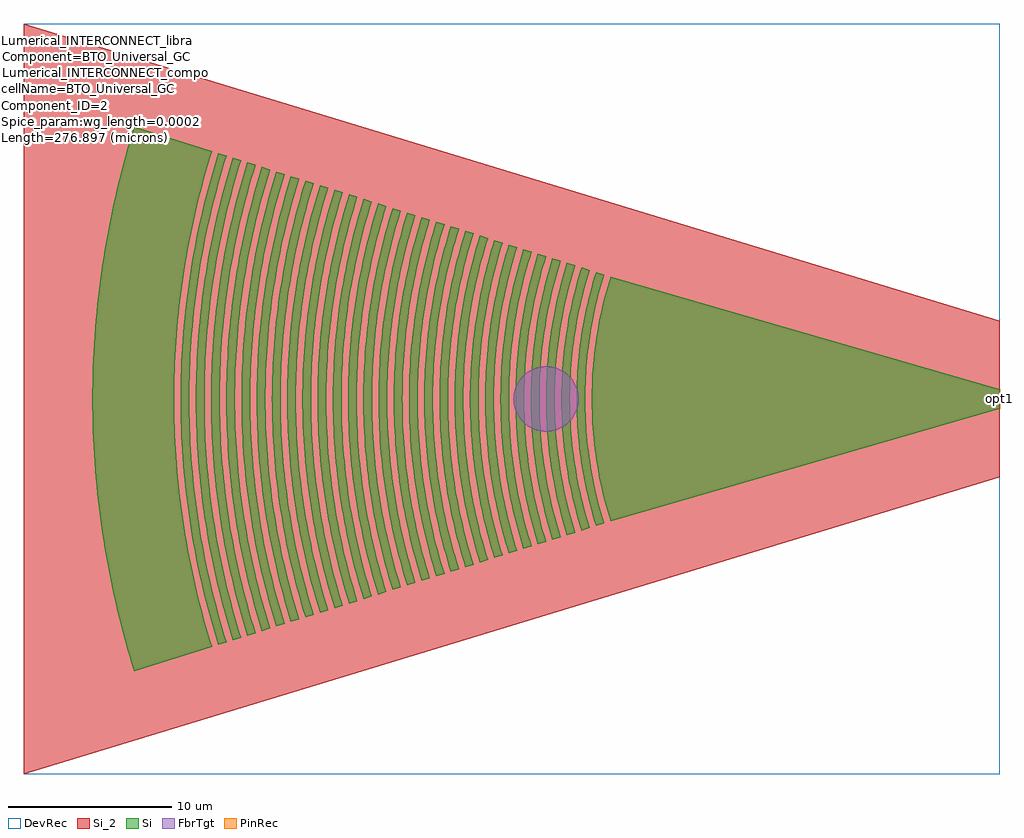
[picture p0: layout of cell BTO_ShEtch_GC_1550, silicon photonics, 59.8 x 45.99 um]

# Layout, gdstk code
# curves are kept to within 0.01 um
import gdstk
lib = gdstk.Library(unit=1e-6, precision=1e-09)
def R(c, l, rs):  # rectangles x0, y0, x1, y1
    for r in rs: c.add(gdstk.rectangle(r[:2], r[2:], *l))
def P(c, l, *ps):  # polygons
    for p in ps: c.add(gdstk.Polygon(p, *l))
Si = (1, 0)
Si_2 = (1, 2)
PinRec = (1, 10)
DevRec = (68, 0)
FbrTgt = (81, 0)

bto_shetch_gc_1550 = lib.new_cell('BTO_ShEtch_GC_1550')
P(bto_shetch_gc_1550, Si, [(-23.848,15.495),(-24.122,16.428),(-24.359,17.371),(-24.559,18.323),(-24.723,19.281),(-24.811,19.923),(-24.911,20.891),(-24.974,21.861),(-24.999,22.833),(-24.987,23.805),(-24.936,24.776),(-24.848,25.745),(-24.723,26.709),(-24.559,27.667),(-24.359,28.619),(-24.122,29.562),(-23.848,30.495),(0,23.595),(0,22.395)],
  [(-24.739,15.215),(-25.017,16.163),(-25.259,17.12),(-25.464,18.086),(-25.633,19.059),(-25.764,20.038),(-25.858,21.022),(-25.914,22.008),(-25.933,22.995),(-25.914,23.982),(-25.858,24.968),(-25.764,25.952),(-25.633,26.931),(-25.464,27.904),(-25.259,28.87),(-25.017,29.827),(-24.739,30.775),(-24.233,30.616),(-24.506,29.688),(-24.743,28.75),(-24.944,27.803),(-25.109,26.85),(-25.237,25.891),(-25.329,24.928),(-25.385,23.962),(-25.403,22.995),(-25.385,22.028),(-25.329,21.062),(-25.237,20.099),(-25.109,19.14),(-24.944,18.187),(-24.743,17.24),(-24.506,16.302),(-24.233,15.374)],
  [(-25.629,14.935),(-25.911,15.897),(-26.158,16.868),(-26.368,17.848),(-26.542,18.835),(-26.679,19.828),(-26.778,20.826),(-26.841,21.826),(-26.865,22.828),(-26.853,23.83),(-26.803,24.831),(-26.716,25.83),(-26.592,26.824),(-26.368,28.142),(-26.158,29.122),(-25.911,30.093),(-25.629,31.055),(-25.123,30.896),(-25.4,29.953),(-25.642,29.001),(-25.848,28.04),(-26.018,27.073),(-26.152,26.099),(-26.25,25.122),(-26.311,24.141),(-26.336,23.159),(-26.323,22.176),(-26.274,21.195),(-26.189,20.216),(-26.067,19.241),(-25.909,18.272),(-25.715,17.308),(-25.485,16.353),(-25.123,15.094)],
  [(-26.519,14.655),(-26.806,15.63),(-27.057,16.615),(-27.272,17.608),(-27.451,18.609),(-27.593,19.615),(-27.725,20.964),(-27.78,21.979),(-27.799,22.995),(-27.78,24.011),(-27.725,25.026),(-27.593,26.375),(-27.451,27.381),(-27.272,28.382),(-27.057,29.375),(-26.806,30.36),(-26.519,31.335),(-26.013,31.176),(-26.295,30.219),(-26.541,29.253),(-26.815,27.952),(-26.978,26.969),(-27.105,25.98),(-27.196,24.987),(-27.251,23.992),(-27.269,22.995),(-27.251,21.998),(-27.196,21.003),(-27.105,20.01),(-26.978,19.021),(-26.815,18.038),(-26.541,16.737),(-26.295,15.771),(-26.013,14.814)],
  [(-27.409,14.375),(-27.7,15.363),(-27.956,16.361),(-28.175,17.367),(-28.359,18.38),(-28.506,19.4),(-28.617,20.424),(-28.707,21.794),(-28.731,22.823),(-28.719,23.853),(-28.67,24.882),(-28.584,25.908),(-28.412,27.27),(-28.241,28.286),(-27.956,29.629),(-27.7,30.627),(-27.409,31.615),(-26.903,31.456),(-27.189,30.486),(-27.44,29.507),(-27.656,28.519),(-27.836,27.525),(-27.98,26.524),(-28.089,25.519),(-28.161,24.511),(-28.202,23.163),(-28.177,21.816),(-28.117,20.807),(-28.021,19.801),(-27.888,18.798),(-27.656,17.471),(-27.44,16.483),(-27.189,15.504),(-26.903,14.534)],
  [(-28.299,14.096),(-28.685,15.431),(-28.933,16.444),(-29.145,17.465),(-29.321,18.493),(-29.462,19.527),(-29.592,20.911),(-29.647,21.952),(-29.665,22.995),(-29.647,24.038),(-29.592,25.079),(-29.462,26.463),(-29.321,27.497),(-29.145,28.525),(-28.933,29.546),(-28.685,30.559),(-28.299,31.895),(-27.793,31.736),(-28.172,30.424),(-28.416,29.429),(-28.624,28.426),(-28.798,27.416),(-28.973,26.062),(-29.063,25.042),(-29.117,24.019),(-29.135,22.995),(-29.117,21.971),(-29.063,20.948),(-28.973,19.928),(-28.798,18.574),(-28.624,17.564),(-28.416,16.561),(-28.172,15.566),(-27.793,14.254)],
  [(-29.189,13.816),(-29.488,14.828),(-29.752,15.849),(-29.981,16.88),(-30.23,18.265),(-30.416,19.659),(-30.513,20.71),(-30.573,21.764),(-30.597,22.819),(-30.573,24.226),(-30.513,25.28),(-30.416,26.331),(-30.283,27.378),(-30.049,28.765),(-29.832,29.798),(-29.58,30.823),(-29.189,32.174),(-28.683,32.015),(-28.977,31.021),(-29.237,30.017),(-29.529,28.665),(-29.707,27.643),(-29.889,26.273),(-29.984,25.24),(-30.044,24.205),(-30.068,23.168),(-30.044,21.785),(-29.984,20.75),(-29.889,19.717),(-29.707,18.347),(-29.529,17.325),(-29.237,15.973),(-28.977,14.969),(-28.683,13.975)],
  [(-30.079,13.536),(-30.482,14.929),(-30.742,15.985),(-30.965,17.049),(-31.152,18.12),(-31.301,19.198),(-31.414,20.279),(-31.489,21.364),(-31.53,22.814),(-31.518,23.901),(-31.443,25.349),(-31.343,26.432),(-31.152,27.87),(-30.965,28.941),(-30.742,30.005),(-30.482,31.061),(-30.079,32.454),(-29.573,32.295),(-29.876,31.27),(-30.144,30.235),(-30.376,29.191),(-30.628,27.788),(-30.775,26.729),(-30.915,25.31),(-30.976,24.242),(-31.001,23.173),(-30.976,21.748),(-30.915,20.68),(-30.775,19.261),(-30.628,18.202),(-30.376,16.799),(-30.144,15.755),(-29.876,14.72),(-29.573,13.695)],
  [(-30.969,13.256),(-31.281,14.31),(-31.557,15.373),(-31.797,16.446),(-32.06,17.887),(-32.258,19.339),(-32.363,20.433),(-32.431,21.53),(-32.464,22.995),(-32.431,24.46),(-32.363,25.557),(-32.258,26.651),(-32.06,28.103),(-31.797,29.544),(-31.557,30.617),(-31.281,31.68),(-30.969,32.734),(-30.463,32.575),(-30.77,31.539),(-31.124,30.141),(-31.415,28.73),(-31.591,27.663),(-31.731,26.591),(-31.861,25.156),(-31.916,24.076),(-31.934,22.995),(-31.916,21.914),(-31.861,20.834),(-31.731,19.399),(-31.591,18.327),(-31.415,17.26),(-31.124,15.849),(-30.77,14.451),(-30.463,13.415)],
  [(-31.859,12.976),(-32.174,14.04),(-32.454,15.114),(-32.698,16.197),(-32.967,17.653),(-33.171,19.118),(-33.282,20.223),(-33.372,21.7),(-33.396,22.81),(-33.372,24.29),(-33.31,25.398),(-33.212,26.504),(-33.024,27.972),(-32.771,29.43),(-32.539,30.516),(-32.174,31.95),(-31.859,33.014),(-31.353,32.855),(-31.664,31.808),(-31.939,30.751),(-32.179,29.685),(-32.444,28.253),(-32.601,27.171),(-32.754,25.723),(-32.826,24.633),(-32.867,23.177),(-32.842,21.721),(-32.782,20.63),(-32.645,19.18),(-32.5,18.097),(-32.251,16.662),(-32.023,15.594),(-31.664,14.182),(-31.353,13.135)],
  [(-32.749,12.696),(-33.166,14.131),(-33.438,15.218),(-33.674,16.314),(-33.932,17.785),(-34.127,19.267),(-34.23,20.383),(-34.312,21.874),(-34.33,22.995),(-34.312,24.116),(-34.23,25.607),(-34.127,26.723),(-33.932,28.205),(-33.674,29.676),(-33.438,30.772),(-33.166,31.859),(-32.749,33.294),(-32.243,33.135),(-32.654,31.722),(-32.921,30.652),(-33.154,29.573),(-33.409,28.124),(-33.6,26.666),(-33.702,25.567),(-33.768,24.466),(-33.8,22.995),(-33.768,21.524),(-33.702,20.423),(-33.6,19.324),(-33.409,17.866),(-33.154,16.417),(-32.921,15.338),(-32.654,14.268),(-32.243,12.855)],
  [(-33.639,12.416),(-33.961,13.5),(-34.336,14.961),(-34.576,16.066),(-34.84,17.55),(-34.997,18.67),(-35.15,20.171),(-35.222,21.299),(-35.262,22.807),(-35.238,24.314),(-35.15,25.819),(-34.997,27.32),(-34.84,28.44),(-34.576,29.924),(-34.336,31.029),(-33.961,32.49),(-33.639,33.574),(-33.133,33.415),(-33.45,32.347),(-33.82,30.908),(-34.056,29.82),(-34.317,28.358),(-34.471,27.255),(-34.621,25.777),(-34.693,24.665),(-34.733,23.181),(-34.721,22.067),(-34.649,20.583),(-34.514,19.104),(-34.317,17.632),(-34.056,16.17),(-33.82,15.082),(-33.45,13.643),(-33.133,12.575)],
  [(-34.529,12.136),(-34.859,13.249),(-35.244,14.748),(-35.564,16.262),(-35.762,17.406),(-35.923,18.556),(-36.08,20.096),(-36.171,21.641),(-36.195,22.802),(-36.171,24.349),(-36.109,25.508),(-35.968,27.05),(-35.82,28.201),(-35.564,29.728),(-35.244,31.242),(-34.859,32.741),(-34.529,33.854),(-34.023,33.695),(-34.45,32.231),(-34.728,31.121),(-35.044,29.629),(-35.238,28.502),(-35.442,26.99),(-35.551,25.852),(-35.625,24.71),(-35.666,23.186),(-35.641,21.661),(-35.58,20.519),(-35.442,19),(-35.295,17.865),(-35.113,16.736),(-34.813,15.241),(-34.45,13.759),(-34.023,12.295)],
  [(-35.419,11.856),(-35.856,13.354),(-36.142,14.489),(-36.392,15.632),(-36.669,17.168),(-36.881,18.713),(-37.029,20.267),(-37.111,21.825),(-37.129,22.995),(-37.111,24.165),(-37.029,25.723),(-36.881,27.277),(-36.669,28.822),(-36.392,30.358),(-36.142,31.501),(-35.856,32.636),(-35.419,34.134),(-34.913,33.975),(-35.344,32.498),(-35.626,31.38),(-35.946,29.875),(-36.204,28.359),(-36.355,27.215),(-36.5,25.684),(-36.567,24.533),(-36.599,22.995),(-36.567,21.457),(-36.5,20.306),(-36.355,18.775),(-36.204,17.631),(-35.946,16.115),(-35.626,14.61),(-35.344,13.492),(-34.913,12.015)],
  [(-36.309,11.576),(-36.645,12.707),(-37.039,14.229),(-37.369,15.766),(-37.636,17.316),(-37.794,18.485),(-37.948,20.05),(-38.021,21.227),(-38.061,22.798),(-38.037,24.371),(-37.948,25.94),(-37.794,27.505),(-37.636,28.674),(-37.369,30.224),(-37.039,31.761),(-36.645,33.283),(-36.309,34.414),(-35.803,34.255),(-36.238,32.766),(-36.523,31.639),(-36.849,30.123),(-37.112,28.595),(-37.268,27.443),(-37.42,25.899),(-37.492,24.739),(-37.532,23.189),(-37.52,22.026),(-37.448,20.477),(-37.312,18.933),(-37.112,17.395),(-36.849,15.867),(-36.523,14.351),(-36.238,13.224),(-35.803,11.735)],
  [(-37.199,11.297),(-37.643,12.817),(-38.026,14.354),(-38.345,15.906),(-38.543,17.077),(-38.706,18.254),(-38.866,19.83),(-38.963,21.411),(-38.995,22.995),(-38.963,24.579),(-38.866,26.16),(-38.706,27.736),(-38.543,28.913),(-38.345,30.084),(-38.026,31.636),(-37.643,33.173),(-37.199,34.694),(-36.693,34.535),(-37.132,33.035),(-37.509,31.518),(-37.751,30.372),(-38.02,28.832),(-38.225,27.283),(-38.368,25.727),(-38.447,24.167),(-38.465,22.995),(-38.447,21.823),(-38.368,20.263),(-38.225,18.707),(-38.02,17.158),(-37.751,15.618),(-37.509,14.472),(-37.132,12.955),(-36.693,11.455)],
  [(-38.089,11.017),(-38.544,12.573),(-38.844,13.753),(-39.187,15.338),(-39.466,16.936),(-39.679,18.543),(-39.827,20.159),(-39.895,21.373),(-39.928,22.995),(-39.895,24.617),(-39.827,25.831),(-39.679,27.447),(-39.466,29.054),(-39.187,30.652),(-38.844,32.237),(-38.544,33.417),(-38.089,34.973),(-37.583,34.814),(-38.032,33.278),(-38.419,31.725),(-38.742,30.158),(-38.942,28.974),(-39.152,27.387),(-39.299,25.794),(-39.366,24.595),(-39.398,22.995),(-39.366,21.395),(-39.299,20.196),(-39.152,18.603),(-38.942,17.016),(-38.742,15.832),(-38.419,14.265),(-38.032,12.712),(-37.583,11.176)],
  [(-38.979,10.737),(-39.438,12.304),(-39.74,13.49),(-40.088,15.085),(-40.372,16.693),(-40.592,18.311),(-40.714,19.529),(-40.82,21.159),(-40.86,22.791),(-40.836,24.423),(-40.775,25.646),(-40.636,27.273),(-40.433,28.893),(-40.165,30.504),(-39.833,32.102),(-39.438,33.686),(-38.979,35.253),(-38.473,35.094),(-38.926,33.548),(-39.317,31.984),(-39.568,30.802),(-39.849,29.215),(-40.017,28.018),(-40.186,26.416),(-40.29,24.807),(-40.331,23.196),(-40.306,21.585),(-40.218,19.976),(-40.065,18.372),(-39.849,16.775),(-39.568,15.188),(-39.317,14.006),(-38.926,12.442),(-38.473,10.896)],
  [(-39.869,10.457),(-40.331,12.034),(-40.731,13.627),(-41.067,15.235),(-41.341,16.856),(-41.504,18.077),(-41.665,19.712),(-41.762,21.352),(-41.794,22.995),(-41.762,24.638),(-41.665,26.278),(-41.504,27.913),(-41.341,29.134),(-41.067,30.755),(-40.731,32.363),(-40.331,33.956),(-39.869,35.533),(-39.363,35.374),(-39.82,33.817),(-40.214,32.244),(-40.547,30.656),(-40.755,29.458),(-40.977,27.851),(-41.137,26.236),(-41.232,24.617),(-41.264,22.995),(-41.232,21.373),(-41.137,19.754),(-40.977,18.139),(-40.755,16.532),(-40.547,15.334),(-40.214,13.746),(-39.82,12.173),(-39.363,10.616)],
  [(-40.759,10.177),(-41.119,11.384),(-41.544,13.009),(-41.904,14.65),(-42.2,16.303),(-42.43,17.967),(-42.595,19.639),(-42.694,21.316),(-42.727,22.995),(-42.694,24.674),(-42.595,26.351),(-42.43,28.023),(-42.2,29.687),(-41.904,31.34),(-41.544,32.981),(-41.119,34.606),(-40.759,35.813),(-40.253,35.654),(-40.72,34.062),(-41.123,32.453),(-41.463,30.829),(-41.739,29.194),(-41.951,27.548),(-42.067,26.31),(-42.164,24.654),(-42.197,22.995),(-42.164,21.336),(-42.067,19.68),(-41.951,18.442),(-41.739,16.796),(-41.463,15.161),(-41.123,13.537),(-40.72,11.928),(-40.253,10.336)],
  [(-41.649,9.897),(-42.011,11.111),(-42.44,12.745),(-42.804,14.394),(-43.105,16.056),(-43.341,17.729),(-43.513,19.409),(-43.619,21.095),(-43.659,22.784),(-43.635,24.473),(-43.545,26.16),(-43.39,27.842),(-43.17,29.516),(-42.886,31.181),(-42.537,32.834),(-42.124,34.472),(-41.649,36.093),(-41.143,35.934),(-41.502,34.735),(-41.925,33.121),(-42.285,31.491),(-42.582,29.849),(-42.815,28.197),(-42.984,26.537),(-43.089,24.872),(-43.13,23.204),(-43.105,21.535),(-43.017,19.869),(-42.863,18.207),(-42.646,16.553),(-42.365,14.908),(-42.021,13.275),(-41.613,11.657),(-41.143,10.056)],
  [(-42.539,9.617),(-43.018,11.247),(-43.434,12.893),(-43.787,14.554),(-44.077,16.228),(-44.302,17.911),(-44.464,19.601),(-44.561,21.297),(-44.593,22.995),(-44.561,24.693),(-44.464,26.389),(-44.302,28.079),(-44.077,29.762),(-43.787,31.436),(-43.434,33.097),(-43.018,34.743),(-42.539,36.373),(-42.033,36.214),(-42.506,34.604),(-42.918,32.977),(-43.267,31.335),(-43.553,29.682),(-43.776,28.019),(-43.935,26.348),(-44.031,24.673),(-44.063,22.995),(-44.031,21.317),(-43.935,19.642),(-43.776,17.971),(-43.553,16.308),(-43.267,14.655),(-42.918,13.013),(-42.506,11.386),(-42.033,9.776)],
  [(-43.429,9.337),(-43.918,11.001),(-44.342,12.682),(-44.703,14.378),(-44.999,16.086),(-45.229,17.805),(-45.394,19.53),(-45.493,21.261),(-45.526,22.995),(-45.493,24.729),(-45.394,26.46),(-45.229,28.185),(-44.999,29.904),(-44.703,31.612),(-44.342,33.308),(-43.918,34.989),(-43.429,36.653),(-42.924,36.494),(-43.406,34.85),(-43.826,33.188),(-44.183,31.512),(-44.475,29.823),(-44.703,28.125),(-44.866,26.419),(-44.963,24.708),(-44.996,22.995),(-44.963,21.282),(-44.866,19.571),(-44.703,17.865),(-44.475,16.167),(-44.183,14.478),(-43.826,12.802),(-43.406,11.14),(-42.924,9.496)],
  [(-44.319,9.057),(-44.81,10.729),(-45.239,12.417),(-45.604,14.121),(-45.904,15.837),(-46.14,17.563),(-46.312,19.297),(-46.418,21.036),(-46.458,22.777),(-46.446,24.084),(-46.418,24.954),(-46.312,26.693),(-46.14,28.427),(-45.904,30.153),(-45.604,31.869),(-45.239,33.573),(-44.81,35.261),(-44.319,36.933),(-43.814,36.774),(-44.299,35.121),(-44.723,33.452),(-45.083,31.768),(-45.381,30.071),(-45.614,28.365),(-45.783,26.651),(-45.888,24.932),(-45.929,23.21),(-45.904,21.488),(-45.816,19.768),(-45.707,18.481),(-45.614,17.625),(-45.381,15.919),(-45.083,14.222),(-44.723,12.538),(-44.299,10.869),(-43.814,9.216)],
  [(-45.209,8.777),(-45.703,10.456),(-46.135,12.152),(-46.504,13.863),(-46.665,14.724),(-46.876,16.019),(-47.101,17.755),(-47.263,19.498),(-47.36,21.245),(-47.392,22.995),(-47.36,24.745),(-47.263,26.492),(-47.101,28.235),(-46.876,29.971),(-46.665,31.266),(-46.504,32.127),(-46.135,33.838),(-45.703,35.534),(-45.209,37.213),(-44.704,37.054),(-44.956,36.226),(-45.305,34.976),(-45.716,33.295),(-46.065,31.6),(-46.352,29.893),(-46.575,28.177),(-46.734,26.453),(-46.83,24.725),(-46.862,22.995),(-46.83,21.265),(-46.734,19.537),(-46.575,17.813),(-46.352,16.097),(-46.065,14.39),(-45.716,12.695),(-45.305,11.014),(-44.956,9.764),(-44.704,8.936)],
  [(-46.099,8.498),(-46.603,10.21),(-47.043,11.939),(-47.331,13.246),(-47.503,14.122),(-47.799,15.882),(-48.029,17.652),(-48.193,19.429),(-48.292,21.211),(-48.325,22.995),(-48.292,24.779),(-48.193,26.561),(-48.029,28.338),(-47.799,30.108),(-47.503,31.868),(-47.331,32.744),(-47.043,34.051),(-46.603,35.78),(-46.099,37.493),(-45.594,37.334),(-45.851,36.489),(-46.207,35.214),(-46.626,33.5),(-46.982,31.771),(-47.274,30.03),(-47.502,28.28),(-47.665,26.522),(-47.762,24.76),(-47.795,22.995),(-47.762,21.23),(-47.665,19.468),(-47.502,17.71),(-47.274,15.96),(-46.982,14.219),(-46.626,12.49),(-46.207,10.776),(-45.851,9.501),(-45.594,8.656)],
  [(-46.989,8.218),(-47.496,9.937),(-47.834,11.237),(-48.04,12.109),(-48.404,13.864),(-48.704,15.63),(-48.94,17.407),(-49.111,19.191),(-49.217,20.979),(-49.257,22.771),(-49.253,23.667),(-49.217,25.011),(-49.111,26.799),(-48.94,28.583),(-48.704,30.36),(-48.404,32.126),(-48.04,33.881),(-47.834,34.753),(-47.496,36.053),(-46.989,37.772),(-46.484,37.613),(-46.985,35.913),(-47.423,34.195),(-47.799,32.463),(-48.112,30.718),(-48.361,28.963),(-48.462,28.082),(-48.583,26.758),(-48.687,24.989),(-48.728,23.217),(-48.724,22.33),(-48.687,21.001),(-48.583,19.232),(-48.413,17.467),(-48.18,15.71),(-47.883,13.962),(-47.523,12.226),(-47.32,11.364),(-46.985,10.077),(-46.484,8.377)],
  [(-47.879,7.938),(-48.267,9.23),(-48.506,10.097),(-48.937,11.844),(-49.305,13.605),(-49.61,15.378),(-49.851,17.161),(-50.028,18.951),(-50.141,20.747),(-50.183,22.095),(-50.191,22.995),(-50.183,23.895),(-50.141,25.243),(-50.028,27.039),(-49.851,28.829),(-49.61,30.612),(-49.305,32.385),(-48.937,34.146),(-48.506,35.893),(-48.267,36.76),(-47.879,38.052),(-47.374,37.893),(-47.877,36.186),(-48.106,35.326),(-48.42,34.028),(-48.784,32.286),(-49.086,30.531),(-49.324,28.767),(-49.5,26.996),(-49.589,25.664),(-49.629,24.775),(-49.661,22.995),(-49.629,21.215),(-49.589,20.326),(-49.5,18.994),(-49.324,17.223),(-49.086,15.459),(-48.784,13.704),(-48.42,11.962),(-48.106,10.664),(-47.877,9.804),(-47.374,8.097)],
  [(-53.033,6.317),(-53.582,8.173),(-53.832,9.108),(-54.176,10.519),(-54.578,12.413),(-54.913,14.319),(-55.182,16.236),(-55.291,17.198),(-55.424,18.644),(-55.491,19.609),(-55.56,21.059),(-55.594,22.995),(-55.56,24.931),(-55.491,26.381),(-55.424,27.346),(-55.291,28.792),(-55.182,29.754),(-54.913,31.671),(-54.578,33.577),(-54.176,35.471),(-53.832,36.882),(-53.582,37.817),(-53.033,39.673),(-48.264,38.173),(-48.763,36.484),(-48.99,35.633),(-49.304,34.349),(-49.494,33.489),(-49.751,32.193),(-50.041,30.455),(-50.27,28.709),(-50.439,26.955),(-50.546,25.197),(-50.577,24.316),(-50.594,22.995),(-50.577,21.674),(-50.546,20.793),(-50.439,19.035),(-50.27,17.281),(-50.041,15.535),(-49.751,13.797),(-49.494,12.501),(-49.304,11.641),(-48.99,10.357),(-48.763,9.506),(-48.264,7.817)])
P(bto_shetch_gc_1550, Si_2, [(-59.787,0),(-59.787,45.99),(0,27.788),(0,18.202)])
R(bto_shetch_gc_1550, DevRec, [(-59.787,0,0,45.99)])
P(bto_shetch_gc_1550, FbrTgt, [(-27.797,20.995),(-28.144,21.025),(-28.348,21.072),(-28.546,21.141),(-28.857,21.299),(-29.028,21.419),(-29.186,21.556),(-29.415,21.819),(-29.529,21.995),(-29.624,22.182),(-29.699,22.377),(-29.753,22.579),(-29.786,22.786),(-29.797,22.995),(-29.767,23.342),(-29.72,23.546),(-29.651,23.744),(-29.493,24.055),(-29.373,24.226),(-29.236,24.384),(-28.973,24.613),(-28.797,24.727),(-28.611,24.822),(-28.415,24.897),(-28.213,24.951),(-28.006,24.984),(-27.797,24.995),(-27.45,24.965),(-27.246,24.918),(-27.048,24.849),(-26.737,24.691),(-26.566,24.571),(-26.408,24.434),(-26.179,24.171),(-26.065,23.995),(-25.97,23.808),(-25.895,23.613),(-25.841,23.411),(-25.808,23.204),(-25.797,22.995),(-25.827,22.648),(-25.875,22.444),(-25.943,22.246),(-26.101,21.935),(-26.221,21.764),(-26.358,21.606),(-26.621,21.377),(-26.797,21.263),(-26.984,21.168),(-27.179,21.093),(-27.381,21.039),(-27.588,21.006)])
bto_shetch_gc_1550.add(gdstk.FlexPath([(-0.01,22.995),(0.01,22.995)], 1.2, ends="flush", simple_path=True, layer=1, datatype=10))  # PinRec
bto_shetch_gc_1550.add(gdstk.Label('Lumerical_INTERCONNECT_library=Design kits/Shallow_Etch_BTO', (-59.787,44.99), layer=68, texttype=0))
bto_shetch_gc_1550.add(gdstk.Label('Component=BTO_Universal_GC', (-59.787,43.99), layer=68, texttype=0))
bto_shetch_gc_1550.add(gdstk.Label('Lumerical_INTERCONNECT_component=BTO_Universal_GC', (-59.787,42.99), layer=68, texttype=0))
bto_shetch_gc_1550.add(gdstk.Label('cellName=BTO_Universal_GC', (-59.787,41.99), layer=68, texttype=0))
bto_shetch_gc_1550.add(gdstk.Label('Component_ID=2', (-59.787,40.99), layer=68, texttype=0))
bto_shetch_gc_1550.add(gdstk.Label('Spice_param:wg_length=0.000276897 wg_width=5e-07 points=[[-42.81,125.25],[33.69,125.25],[33.69,-1.75],[-42.81,-1.75]] radius=5e-06', (-59.787,39.99), layer=68, texttype=0))
bto_shetch_gc_1550.add(gdstk.Label('Length=276.897 (microns)', (-59.787,38.99), layer=68, texttype=0))
bto_shetch_gc_1550.add(gdstk.Label('opt1', (0,22.995), layer=1, texttype=10))

lib.write_gds('BTO_ShEtch_GC_1550.gds')
